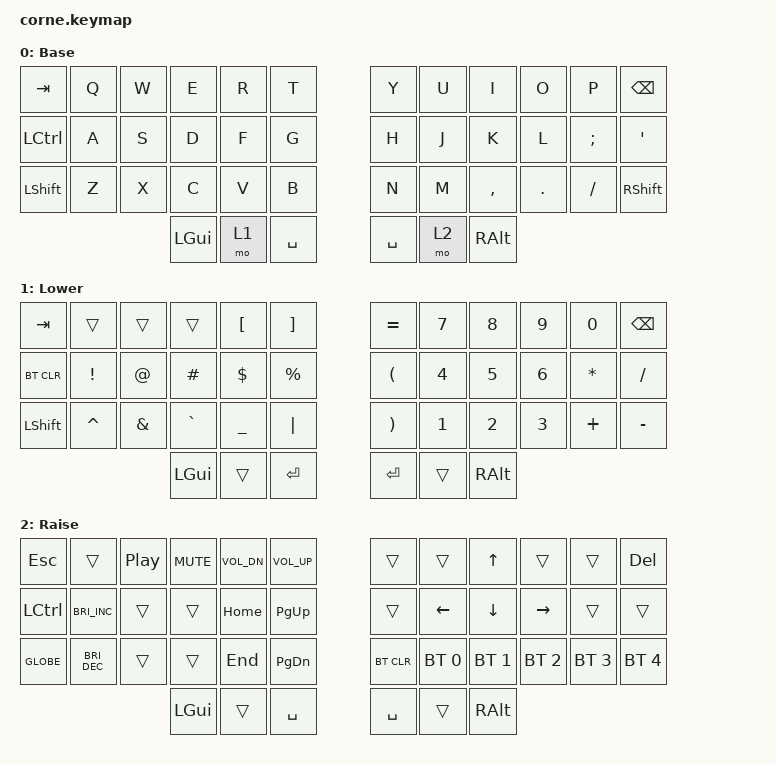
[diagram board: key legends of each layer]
/*
 * Copyright (c) 2020 The ZMK Contributors
 *
 * SPDX-License-Identifier: MIT
 */

#include <behaviors.dtsi>
#include <dt-bindings/zmk/bt.h>
#include <dt-bindings/zmk/keys.h>

/ {
    combos {
        compatible = "zmk,combos";

        capslock {
            bindings = <&caps_word>;
            key-positions = <37 40>;
        };
    };

    keymap {
        compatible = "zmk,keymap";

        default_layer {
            // -----------------------------------------------------------------------------------------
            // |  TAB |  Q  |  W  |  E  |  R  |  T  |   |  Y  |  U   |  I  |  O  |  P  | BKSP |
            // | CTRL |  A  |  S  |  D  |  F  |  G  |   |  H  |  J   |  K  |  L  |  ;  |  '   |
            // | SHFT |  Z  |  X  |  C  |  V  |  B  |   |  N  |  M   |  ,  |  .  |  /  | ESC  |
            //                    | GUI | LWR | SPC |   | ENT | RSE  | ALT |

            display-name = "Base";
            bindings = <
&kp TAB    &kp Q  &kp W  &kp E     &kp R  &kp T        &kp Y      &kp U  &kp I      &kp O    &kp P     &kp BSPC
&kp LCTRL  &kp A  &kp S  &kp D     &kp F  &kp G        &kp H      &kp J  &kp K      &kp L    &kp SEMI  &kp SQT
&kp LSHFT  &kp Z  &kp X  &kp C     &kp V  &kp B        &kp N      &kp M  &kp COMMA  &kp DOT  &kp FSLH  &kp RIGHT_SHIFT
                         &kp LGUI  &mo 1  &kp SPACE    &kp SPACE  &mo 2  &kp RALT
            >;
        };

        lower_layer {
            // -----------------------------------------------------------------------------------------
            // |  TAB |  1  |  2  |  3  |  4  |  5  |   |  6  |  7  |  8  |  9  |  0  | BKSP |
            // | BTCLR| BT1 | BT2 | BT3 | BT4 | BT5 |   | LFT | DWN |  UP | RGT |     |      |
            // | SHFT |     |     |     |     |     |   |     |     |     |     |     |      |
            //                    | GUI |     | SPC |   | ENT |     | ALT |

            display-name = "Lower";
            bindings = <
&kp TAB     &trans           &trans         &trans     &kp LEFT_BRACKET  &kp RIGHT_BRACKET    &kp EQUAL              &kp N7        &kp N8        &kp N9        &kp N0        &kp BSPC
&bt BT_CLR  &kp EXCLAMATION  &kp AT_SIGN    &kp HASH   &kp DOLLAR        &kp PERCENT          &kp LEFT_PARENTHESIS   &kp NUMBER_4  &kp N5        &kp NUMBER_6  &kp ASTERISK  &kp SLASH
&kp LSHFT   &kp CARET        &kp AMPERSAND  &kp GRAVE  &kp UNDERSCORE    &kp PIPE             &kp RIGHT_PARENTHESIS  &kp NUMBER_1  &kp NUMBER_2  &kp NUMBER_3  &kp PLUS      &kp MINUS
                                            &kp LGUI   &trans            &kp ENTER            &kp RET                &trans        &kp RALT
            >;
        };

        raise_layer {
            // -----------------------------------------------------------------------------------------
            // |  TAB |  !  |  @  |  #  |  $  |  %  |   |  ^  |  &  |  *  |  (  |  )  | BKSP |
            // | CTRL |     |     |     |     |     |   |  -  |  =  |  [  |  ]  |  \  |  `   |
            // | SHFT |     |     |     |     |     |   |  _  |  +  |  {  |  }  | "|" |  ~   |
            //                    | GUI |     | SPC |   | ENT |     | ALT |

            display-name = "Raise";
            bindings = <
&kp ESCAPE        &trans                &kp C_PLAY_PAUSE  &kp K_MUTE  &kp C_VOL_DN  &kp C_VOL_UP     &trans      &trans          &kp UP_ARROW    &trans        &trans        &kp DELETE
&kp LEFT_CONTROL  &kp C_BRIGHTNESS_INC  &trans            &trans      &kp HOME      &kp PAGE_UP      &trans      &kp LEFT_ARROW  &kp DOWN_ARROW  &kp RIGHT     &trans        &trans
&kp GLOBE         &kp C_BRIGHTNESS_DEC  &trans            &trans      &kp END       &kp PAGE_DOWN    &bt BT_CLR  &bt BT_SEL 0    &bt BT_SEL 1    &bt BT_SEL 2  &bt BT_SEL 3  &bt BT_SEL 4
                                                          &kp LGUI    &trans        &kp SPACE        &kp SPACE   &trans          &kp RALT
            >;
        };
    };
};
